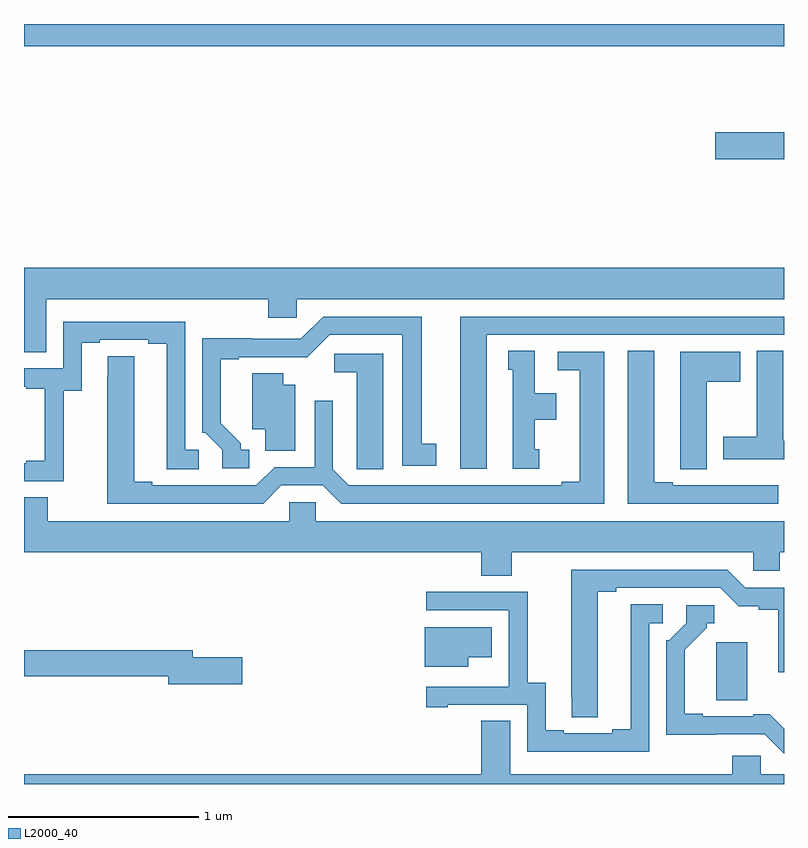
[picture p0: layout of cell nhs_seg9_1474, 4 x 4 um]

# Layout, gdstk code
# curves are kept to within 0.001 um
import gdstk
lib = gdstk.Library(unit=1e-6, precision=1e-09)
def R(c, l, rs):  # rectangles x0, y0, x1, y1
    for r in rs: c.add(gdstk.rectangle(r[:2], r[2:], *l))
def P(c, l, *ps):  # polygons
    for p in ps: c.add(gdstk.Polygon(p, *l))
L2000_40 = (2000, 40)

nhs_seg9_1474 = lib.new_cell('nhs_seg9_1474')
R(nhs_seg9_1474, L2000_40, [(196.638,1231.787,197,1231.929), (193,1232.384,197,1232.5)])
P(nhs_seg9_1474, L2000_40, [(193.117,1231.052),(194.285,1231.052),(194.285,1230.954),(194.436,1230.954),(194.436,1231.052),(197,1231.052),(197,1231.216),(193,1231.216),(193,1230.772),(193.117,1230.772)],
  [(194.185,1230.258),(194.14,1230.258),(194.14,1230.293),(194.035,1230.398),(194.035,1230.735),(194.131,1230.735),(194.131,1230.747),(194.492,1230.746),(194.61,1230.864),(194.99,1230.864),(194.99,1230.174),(195.169,1230.174),(195.169,1230.29),(195.094,1230.29),(195.094,1230.96),(194.574,1230.96),(194.457,1230.843),(194.201,1230.843),(194.201,1230.845),(193.938,1230.845),(193.938,1230.348),(193.953,1230.348),(194.043,1230.258),(194.043,1230.162),(194.185,1230.162)],
  [(195.436,1230.864),(197,1230.864),(197,1230.96),(195.296,1230.96),(195.296,1230.159),(195.436,1230.159)],
  [(193.209,1230.571),(193.303,1230.571),(193.303,1230.822),(193.399,1230.822),(193.399,1230.837),(193.655,1230.837),(193.655,1230.817),(193.751,1230.817),(193.751,1230.157),(193.921,1230.157),(193.921,1230.258),(193.848,1230.258),(193.848,1230.933),(193.206,1230.933),(193.206,1230.687),(193,1230.687),(193,1230.591),(193.013,1230.591),(193.013,1230.579),(193.109,1230.579),(193.109,1230.202),(193.013,1230.202),(193.013,1230.189),(193,1230.189),(193,1230.093),(193.209,1230.093)],
  [(197,1230.306),(196.996,1230.306),(196.996,1230.668),(196.995,1230.668),(196.995,1230.779),(196.856,1230.779),(196.856,1230.327),(196.679,1230.327),(196.679,1230.21),(197,1230.21)],
  [(195.712,1230.261),(195.688,1230.261),(195.688,1230.416),(195.802,1230.416),(195.802,1230.556),(195.688,1230.556),(195.688,1230.779),(195.548,1230.779),(195.548,1230.681),(195.572,1230.681),(195.572,1230.159),(195.712,1230.159)],
  [(196.969,1230.072),(196.856,1230.072),(196.856,1230.073),(196.69,1230.073),(196.69,1230.072),(196.414,1230.072),(196.414,1230.087),(196.318,1230.087),(196.318,1230.779),(196.178,1230.779),(196.178,1229.976),(196.969,1229.976)],
  [(196.594,1230.616),(196.771,1230.616),(196.771,1230.775),(196.454,1230.775),(196.454,1230.265),(196.455,1230.265),(196.455,1230.157),(196.594,1230.157)],
  [(194.355,1230.072),(194.573,1230.072),(194.669,1229.976),(196.054,1229.976),(196.054,1230.774),(195.81,1230.774),(195.81,1230.678),(195.926,1230.678),(195.926,1230.092),(195.83,1230.092),(195.83,1230.072),(194.709,1230.072),(194.625,1230.156),(194.625,1230.517),(194.529,1230.517),(194.529,1230.168),(194.319,1230.168),(194.223,1230.072),(193.675,1230.072),(193.675,1230.092),(193.579,1230.092),(193.579,1230.752),(193.44,1230.752),(193.439,1229.976),(194.259,1229.976)],
  [(194.89,1230.765),(194.634,1230.765),(194.634,1230.668),(194.75,1230.668),(194.75,1230.265),(194.751,1230.265),(194.751,1230.157),(194.89,1230.157)],
  [(194.428,1230.601),(194.365,1230.601),(194.365,1230.662),(194.201,1230.662),(194.201,1230.368),(194.27,1230.368),(194.27,1230.253),(194.428,1230.253)],
  [(195.567,1229.72),(196.839,1229.72),(196.839,1229.622),(196.977,1229.622),(196.977,1229.72),(197,1229.72),(197,1229.884),(194.535,1229.884),(194.535,1229.982),(194.397,1229.982),(194.397,1229.884),(193.125,1229.884),(193.125,1230.008),(193,1230.008),(193,1229.72),(195.407,1229.72),(195.407,1229.596),(195.567,1229.596)],
  [(196.021,1229.512),(196.117,1229.512),(196.117,1229.532),(196.665,1229.532),(196.763,1229.435),(196.866,1229.435),(196.866,1229.416),(196.97,1229.416),(196.97,1229.088),(197,1229.088),(197,1229.532),(196.797,1229.532),(196.701,1229.628),(195.881,1229.628),(195.882,1228.852),(196.021,1228.852)],
  [(196.29,1229.346),(196.363,1229.346),(196.363,1229.447),(196.193,1229.447),(196.193,1228.787),(196.097,1228.787),(196.097,1228.767),(195.841,1228.767),(195.841,1228.782),(195.745,1228.782),(195.745,1229.033),(195.651,1229.033),(195.651,1229.511),(195.117,1229.511),(195.117,1229.415),(195.552,1229.415),(195.552,1229.014),(195.551,1229.014),(195.551,1229.013),(195.117,1229.013),(195.117,1228.905),(195.229,1228.905),(195.229,1228.917),(195.648,1228.917),(195.648,1228.671),(196.29,1228.671)],
  [(197,1228.792),(196.924,1228.868),(196.838,1228.868),(196.838,1228.857),(196.573,1228.857),(196.573,1228.87),(196.477,1228.87),(196.477,1229.206),(196.594,1229.323),(196.594,1229.346),(196.633,1229.346),(196.633,1229.442),(196.485,1229.442),(196.485,1229.346),(196.395,1229.256),(196.38,1229.256),(196.38,1228.76),(196.899,1228.761),(197,1228.66)],
  [(195.337,1229.168),(195.463,1229.168),(195.463,1229.326),(195.11,1229.326),(195.11,1229.117),(195.337,1229.117)],
  [(196.806,1229.1),(196.807,1229.1),(196.807,1229.245),(196.643,1229.245),(196.643,1228.942),(196.806,1228.942)],
  [(194.149,1229.168),(193.888,1229.168),(193.888,1229.204),(193,1229.204),(193,1229.068),(193.76,1229.068),(193.76,1229.026),(194.149,1229.026)],
  [(197,1228.552),(196.878,1228.552),(196.878,1228.65),(196.727,1228.65),(196.727,1228.552),(195.559,1228.552),(195.559,1228.832),(195.407,1228.832),(195.407,1228.552),(193,1228.552),(193,1228.5),(197,1228.5)])

lib.write_gds('nhs_seg9_1474.gds')
